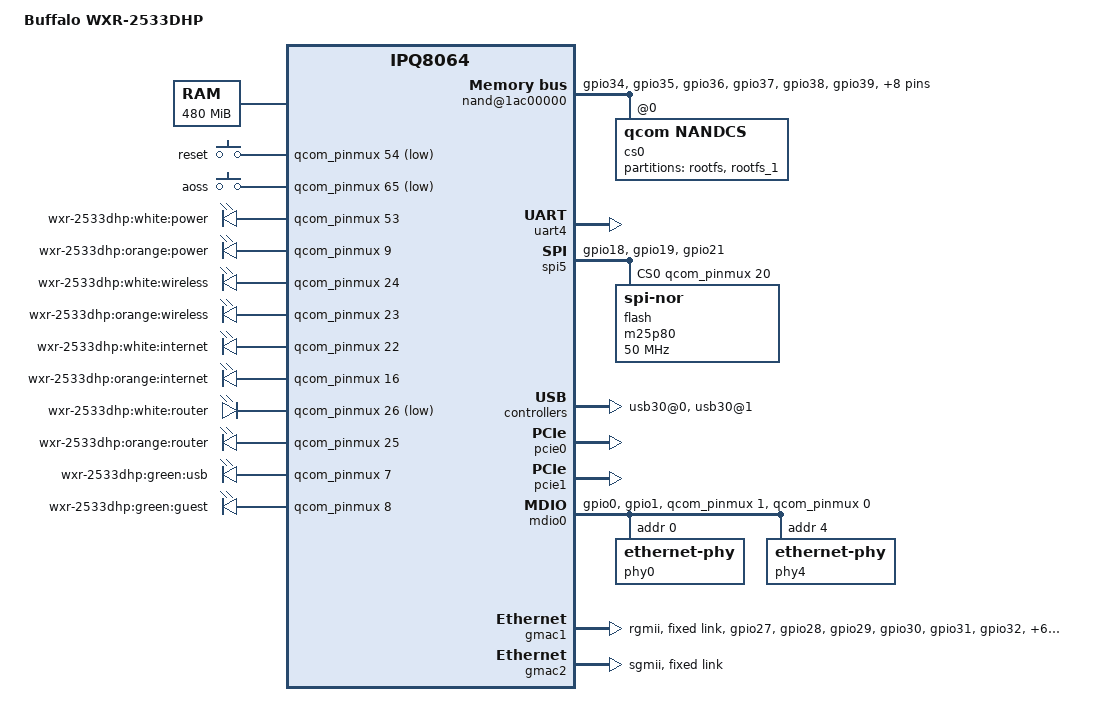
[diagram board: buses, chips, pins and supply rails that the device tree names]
#include "qcom-ipq8064-v1.0.dtsi"

#include <dt-bindings/input/input.h>

/ {
	model = "Buffalo WXR-2533DHP";
	compatible = "buffalo,wxr-2533dhp", "qcom,ipq8064";

	memory@0 {
		reg = <0x42000000 0x1e000000>;
		device_type = "memory";
	};

	reserved-memory {
		#address-cells = <1>;
		#size-cells = <1>;
		ranges;
		rsvd@41200000 {
			reg = <0x41200000 0x300000>;
			no-map;
		};
	};

	aliases {
		serial0 = &uart4;
		mdio-gpio0 = &mdio0;

		led-boot = &power_white;
		led-failsafe = &power_orange;
		led-running = &power_white;
		led-upgrade = &power_orange;
	};

	chosen {
		bootargs = "console=ttyMSM0,115200n8 ubi.mtd=0 ubi.block=0,1 root=/dev/ubiblock0_1 rootfstype=squashfs";
		linux,stdout-path = "serial0:115200n8";
	};

	soc {
		pinmux@800000 {
			i2c4_pins: i2c4_pinmux {
				mux {
					pins = "gpio12", "gpio13";
					function = "gsbi4";
					drive-strength = <12>;
					bias-disable;
				};
			};

			spi_pins: spi_pins {
				mux {
					pins = "gpio18", "gpio19", "gpio21";
					function = "gsbi5";
					drive-strength = <10>;
					bias-none;
				};
			};

			nand_pins: nand_pins {
				mux {
					pins = "gpio34", "gpio35", "gpio36",
					       "gpio37", "gpio38", "gpio39",
					       "gpio40", "gpio41", "gpio42",
					       "gpio43", "gpio44", "gpio45",
					       "gpio46", "gpio47";
					function = "nand";
					drive-strength = <10>;
					bias-disable;
				};
				pullups {
					pins = "gpio39";
					bias-pull-up;
				};
				hold {
					pins = "gpio40", "gpio41", "gpio42",
					       "gpio43", "gpio44", "gpio45",
					       "gpio46", "gpio47";
					bias-bus-hold;
				};
			};

			mdio0_pins: mdio0_pins {
				mux {
					pins = "gpio0", "gpio1";
					function = "gpio";
					drive-strength = <8>;
					bias-disable;
				};
			};

			rgmii2_pins: rgmii2_pins {
				mux {
					pins = "gpio27", "gpio28", "gpio29", "gpio30", "gpio31", "gpio32",
					       "gpio51", "gpio52", "gpio59", "gpio60", "gpio61", "gpio62" ;
					function = "rgmii2";
					drive-strength = <8>;
					bias-disable;
				};
			};

			led_pins: led_pins {
				mux {
					pins = "gpio7", "gpio8", "gpio9", "gpio16", "gpio22", "gpio23", 
						"gpio24", "gpio25", "gpio26", "gpio53";
					function = "gpio";
					drive-strength = <2>;
					bias-pull-up;
				};
			};

			button_pins: button_pins {
				mux {
					pins = "gpio54", "gpio65";
					function = "gpio";
					drive-strength = <2>;
					bias-pull-up;
				};
			};

		};

		nand@1ac00000 {
			status = "ok";

			pinctrl-0 = <&nand_pins>;
			pinctrl-names = "default";

			cs0 {
				reg = <0>;
				compatible = "qcom,nandcs";

				nand-ecc-strength = <4>;
				nand-bus-width = <8>;
				nand-ecc-step-size = <512>;

				partitions {
					compatible = "fixed-partitions";
					#address-cells = <1>;
					#size-cells = <1>;

					rootfs@0000000 {
						label = "rootfs";
						reg = <0x0000000 0x4000000>;
					};

					rootfs_1@4000000 {
						label = "rootfs_1";
						reg = <0x4000000 0x4000000>;
					};
				};
			};
		};

		gsbi@16300000 {
			qcom,mode = <GSBI_PROT_I2C_UART>;
			status = "ok";
			
			uart4: serial@16340000 {
				status = "ok";
			};
			/*
			 * The i2c device on gsbi4 should not be enabled.
			 * On ipq806x designs gsbi4 i2c is meant for exclusive
			 * RPM usage. Turning this on in kernel manifests as
			 * i2c failure for the RPM.
			 */
		};

		gsbi5: gsbi@1a200000 {
			qcom,mode = <GSBI_PROT_SPI>;
			status = "ok";

			spi5: spi@1a280000 {
				status = "ok";

				pinctrl-0 = <&spi_pins>;
				pinctrl-names = "default";

				cs-gpios = <&qcom_pinmux 20 GPIO_ACTIVE_HIGH>;

				flash: m25p80@0 {
					compatible = "jedec,spi-nor";
					#address-cells = <1>;
					#size-cells = <1>;
					spi-max-frequency = <50000000>;
					reg = <0>;

					SBL1@0 {
						label = "SBL1";
						reg = <0x0 0x10000>;
						read-only;
					};

					MIBIB@10000 {
						label = "MIBIB";
						reg = <0x10000 0x20000>;
						read-only;
					};

					SBL2@30000 {
						label = "SBL2";
						reg = <0x30000 0x30000>;
						read-only;
					};

					SBL3@60000 {
						label = "SBL3";
						reg = <0x60000 0x30000>;
						read-only;
					};

					DDRCONFIG@90000 {
						label = "DDRCONFIG";
						reg = <0x90000 0x10000>;
						read-only;
					};

					SSD@a0000 {
						label = "SSD";
						reg = <0xa0000 0x10000>;
						read-only;
					};

					TZ@b0000 {
						label = "TZ";
						reg = <0xb0000 0x30000>;
						read-only;
					};

					RPM@e0000 {
						label = "RPM";
						reg = <0xe0000 0x20000>;
						read-only;
					};

					APPSBL@100000 {
						label = "APPSBL";
						reg = <0x100000 0x70000>;
						read-only;
					};

					APPSBLENV@170000 {
						label = "APPSBLENV";
						reg = <0x170000 0x10000>;
						read-only;
					};

					ART: ART@180000 {
						label = "ART";
						reg = <0x180000 0x40000>;
						read-only;
					};

					BOOTCONFIG@1c0000 {
						label = "OLDART";
						reg = <0x1c0000 0x10000>;
						read-only;
					};

					APPSBL_1@1d0000 {
						label = "APPSBL_1";
						reg = <0x1d0000 0x70000>;
					};
				};
			};
		};

		phy@100f8800 {		/* USB3 port 1 HS phy */
			status = "ok";
		};

		phy@100f8830 {		/* USB3 port 1 SS phy */
			status = "ok";
		};

		phy@110f8800 {		/* USB3 port 0 HS phy */
			status = "ok";
		};

		phy@110f8830 {		/* USB3 port 0 SS phy */
			status = "ok";
		};

		usb30@0 {
			status = "ok";
		};

		usb30@1 {
			status = "ok";
		};

		pcie0: pci@1b500000 {
			status = "ok";
			phy-tx0-term-offset = <7>;
		};

		pcie1: pci@1b700000 {
			status = "ok";
			phy-tx0-term-offset = <7>;
		};

		mdio0: mdio {
			compatible = "virtual,mdio-gpio";
			#address-cells = <1>;
			#size-cells = <0>;
			gpios = <&qcom_pinmux 1 GPIO_ACTIVE_HIGH &qcom_pinmux 0 GPIO_ACTIVE_HIGH>;
			pinctrl-0 = <&mdio0_pins>;
			pinctrl-names = "default";

			phy0: ethernet-phy@0 {
				device_type = "ethernet-phy";
				reg = <0>;
				qca,ar8327-initvals = <
					0x00004 0x7600000   /* PAD0_MODE */
					0x00008 0x1000000   /* PAD5_MODE */
					0x0000c 0x80        /* PAD6_MODE */
					0x000e4 0x6a545     /* MAC_POWER_SEL */
					0x000e0 0xc74164de  /* SGMII_CTRL */
					0x0007c 0x4e        /* PORT0_STATUS */
					0x00094 0x4e        /* PORT6_STATUS */
					>;
			};

			phy4: ethernet-phy@4 {
				device_type = "ethernet-phy";
				reg = <4>;
			};
		};

		gmac1: ethernet@37200000 {
			status = "ok";
			phy-mode = "rgmii";
			qcom,id = <1>;
			qcom,phy_mdio_addr = <4>;
			qcom,poll_required = <1>;
			qcom,rgmii_delay = <0>;
			qcom,emulation = <0>;
			pinctrl-0 = <&rgmii2_pins>;
			pinctrl-names = "default";
			mtd-mac-address = <&ART 6>;
			fixed-link {
				speed = <1000>;
				full-duplex;
			};
		};
		//lan
		gmac2: ethernet@37400000 {
			status = "ok";
			phy-mode = "sgmii";
			qcom,id = <2>;
			qcom,phy_mdio_addr = <0>;	/* none */
			qcom,poll_required = <0>;	/* no polling */
			qcom,rgmii_delay = <0>;
			qcom,emulation = <0>;
			mtd-mac-address = <&ART 0>;
			fixed-link {
				speed = <1000>;
				full-duplex;
			};
		};

		rpm@108000 {
			pinctrl-0 = <&i2c4_pins>;
			pinctrl-names = "default";
		};
	};

	gpio-keys {
		compatible = "gpio-keys";
		pinctrl-0 = <&button_pins>;
		pinctrl-names = "default";

		reset {
			label = "reset";
			gpios = <&qcom_pinmux 54 GPIO_ACTIVE_LOW>;
			linux,code = <KEY_RESTART>;
		};

		aoss {
			label = "aoss";
			gpios = <&qcom_pinmux 65 GPIO_ACTIVE_LOW>;
			linux,code = <KEY_RFKILL>;
		};

	};

	gpio-leds {
		compatible = "gpio-leds";
		pinctrl-0 = <&led_pins>;
		pinctrl-names = "default";

		power_white: power_white {
			label = "wxr-2533dhp:white:power";
			gpios = <&qcom_pinmux 53 GPIO_ACTIVE_HIGH>;
			default-state = "keep";
		};

		power_orange: power_orange {
			label = "wxr-2533dhp:orange:power";
			gpios = <&qcom_pinmux 9 GPIO_ACTIVE_HIGH>;
			default-state = "keep";
		};

		wireless_white: wireless_white {
			label = "wxr-2533dhp:white:wireless";
			gpios = <&qcom_pinmux 24 GPIO_ACTIVE_HIGH>;
		};

		wireless_orange: wireless_orange {
			label = "wxr-2533dhp:orange:wireless";
			gpios = <&qcom_pinmux 23 GPIO_ACTIVE_HIGH>;
		};

		internet_white: internet_white {
			label = "wxr-2533dhp:white:internet";
			gpios = <&qcom_pinmux 22 GPIO_ACTIVE_HIGH>;
		};

		internet_orange: internet_orange {
			label = "wxr-2533dhp:orange:internet";
			gpios = <&qcom_pinmux 16 GPIO_ACTIVE_HIGH>;
		};

		router_white: router_white {
			label = "wxr-2533dhp:white:router";
			gpios = <&qcom_pinmux 26 GPIO_ACTIVE_LOW>;
		};

		router_orange: router_orange {
			label = "wxr-2533dhp:orange:router";
			gpios = <&qcom_pinmux 25 GPIO_ACTIVE_HIGH>;
		};

		usb_green: usb_green {
			label = "wxr-2533dhp:green:usb";
			gpios = <&qcom_pinmux 7 GPIO_ACTIVE_HIGH>;
		};

		guest_green: guest_green {
			label = "wxr-2533dhp:green:guest";
			gpios = <&qcom_pinmux 8 GPIO_ACTIVE_HIGH>;
		};
	};
};

&adm_dma {
	status = "ok";
};
